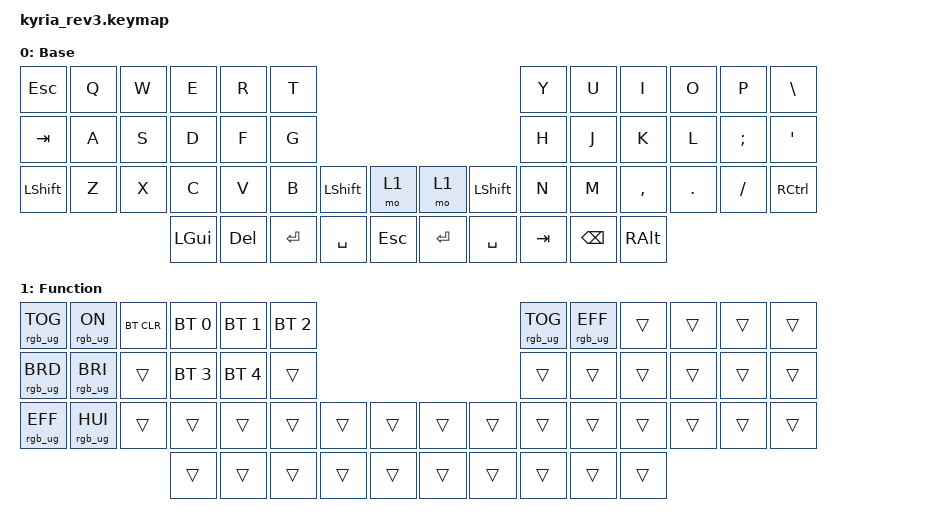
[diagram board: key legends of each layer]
/*
 * Copyright (c) 2023 The ZMK Contributors
 *
 * SPDX-License-Identifier: MIT
 */

#include <behaviors.dtsi>
#include <dt-bindings/zmk/bt.h>
#include <dt-bindings/zmk/keys.h>
#include <dt-bindings/zmk/rgb.h>

&led_strip {
    // chain-length = <6>;
    // chain-length = <31>; // Uncomment if using both per-key and underglow LEDs

    chain-length = <25>; // Uncomment if using only per-key LEDs.
};

/ {
    keymap {
        compatible = "zmk,keymap";

        default_layer {
            // ---------------------------------------------------------------------------------------------------------------------------------
            // |  ESC  |  Q  |  W  |  E   |  R   |  T   |                                          |  Y   |  U    |  I    |  O   |   P   |   \  |
            // |  TAB  |  A  |  S  |  D   |  F   |  G   |                                          |  H   |  J    |  K    |  L   |   ;   |   '  |
            // | SHIFT |  Z  |  X  |  C   |  V   |  B   | L SHIFT | LAYER 1 |  | LAYER 1 | L SHIFT |  N   |  M    |  ,    |  .   |   /   | CTRL |
            //                     | GUI  | DEL  | RET  |  SPACE  |   ESC   |  |   RET   |  SPACE  | TAB  | BSPC  | R-ALT |

            bindings = <
&kp ESC    &kp Q  &kp W  &kp E     &kp R    &kp T                                            &kp Y    &kp U     &kp I      &kp O    &kp P     &kp BSLH
&kp TAB    &kp A  &kp S  &kp D     &kp F    &kp G                                            &kp H    &kp J     &kp K      &kp L    &kp SEMI  &kp SQT
&kp LSHFT  &kp Z  &kp X  &kp C     &kp V    &kp B    &kp LSHFT  &mo 1    &mo 1    &kp LSHFT  &kp N    &kp M     &kp COMMA  &kp DOT  &kp FSLH  &kp RCTRL
                         &kp LGUI  &kp DEL  &kp RET  &kp SPACE  &kp ESC  &kp RET  &kp SPACE  &kp TAB  &kp BSPC  &kp RALT
            >;

            display-name = "Base";
        };

        function_layer {
            // ---------------------------------------------------------------------------------------------------------------------------------
            // |       |      |BT_CLR|BTSEL0|BTSEL1|BTSEL2|                                         |      |      |      |      |      |      |
            // |       |      |      |BTSEL3|BTSEL4|      |                                         |      |      |      |      |      |      |
            // |       |      |      |      |      |      |      |      |      |      |      |      |      |      |      |      |      |      |
            //                       |      |      |      |      |      |      |      |      |      |      |      |      |

            bindings = <
&rgb_ug RGB_TOG  &rgb_ug RGB_ON   &bt BT_CLR  &bt BT_SEL 0  &bt BT_SEL 1  &bt BT_SEL 2                                  &rgb_ug RGB_TOG  &rgb_ug RGB_EFF  &trans  &trans  &trans  &trans
&rgb_ug RGB_BRD  &rgb_ug RGB_BRI  &trans      &bt BT_SEL 3  &bt BT_SEL 4  &trans                                        &trans           &trans           &trans  &trans  &trans  &trans
&rgb_ug RGB_EFF  &rgb_ug RGB_HUI  &trans      &trans        &trans        &trans        &trans  &trans  &trans  &trans  &trans           &trans           &trans  &trans  &trans  &trans
                                              &trans        &trans        &trans        &trans  &trans  &trans  &trans  &trans           &trans           &trans
            >;

            display-name = "Function";
        };
    };
};
